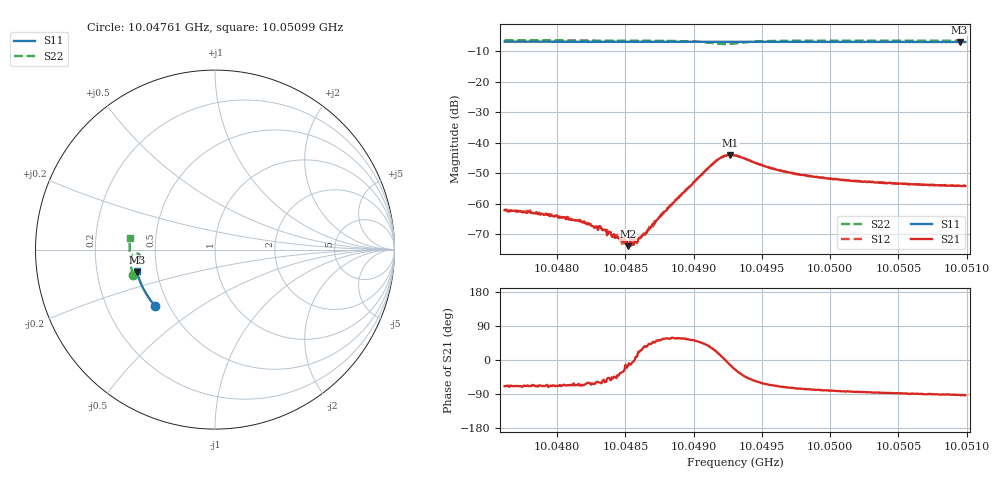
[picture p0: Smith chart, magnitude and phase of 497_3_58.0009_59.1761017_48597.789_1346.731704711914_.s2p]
#  HZ  S  RI  R  50.00
! Rohde & Schwarz Vector Network Analyzer
! Rohde-Schwarz,ZNB20-2Port,1311601062101988,3.16
! Created: UTC 3/21/2024, 1:12:38 AM
! freq[Hz]  re:S11  im:S11  re:S21  im:S21  re:S12  im:S12  re:S22  im:S22
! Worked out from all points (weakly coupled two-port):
!   401 points, 10.04761 GHz to 10.05099 GHz, reference 50 ohm
!   highest |S21| = -43.97 dB at 10.04927 GHz (marker M1); lowest = -73.9 dB at 10.04852 GHz (marker M2)
!   lowest |S11| = -6.9 dB at 10.05095 GHz (marker M3), VSWR 2.65, Z = 19.2 - j5.99 ohm
!   |S11| at or under -10 dB: nowhere
!   |S22| runs from -7.6 to -6.4 dB; largest |S21 - S12| = 0.00046
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1.0047615e10  -0.3323 -0.3152  0.000283 -0.000733  0.000347 -0.000682  -0.4567 -0.1429
1.0047792e10  -0.3401 -0.3062  0.000267 -0.000694  0.000322 -0.000665  -0.4601 -0.1312
1.004818e10  -0.3559 -0.2863  0.000193 -0.000466  0.000236 -0.000451  -0.4657 -0.1043
1.0048282e10  -0.3601 -0.2811  0.000211 -0.000364  0.000221 -0.000357  -0.4669 -0.097
1.0048324e10  -0.3616 -0.2788  0.000189 -0.000348  0.000227 -0.000318  -0.4674 -0.0939
1.0048349e10  -0.3627 -0.2774  0.000195 -0.000316  0.000232 -0.000285  -0.4676 -0.0918
1.0048425e10  -0.3655 -0.2733  0.000194 -0.000195  0.000222 -0.000209  -0.4683 -0.0862
1.0048476e10  -0.3674 -0.2705  0.000214 -0.000134  0.000197 -9.5e-05  -0.4685 -0.0822
1.0048518e10  -0.3691 -0.2684  0.000195 -5.38e-05  0.000232 -8.83e-05  -0.4687 -0.0787
1.0048552e10  -0.37 -0.2664  0.000227 -2.36e-05  0.000255 -2.12e-06  -0.4691 -0.0761
1.0048602e10  -0.3721 -0.2636  0.00026 0.000102  0.000259 9.81e-05  -0.4691 -0.0719
1.0048644e10  -0.3736 -0.2612  0.00025 0.000187  0.000224 0.0002  -0.4692 -0.0683
1.0048746e10  -0.3772 -0.2558  0.000377 0.000466  0.000353 0.000475  -0.4687 -0.0592
1.0049142e10  -0.3903 -0.2331  0.00401 0.00223  0.00388 0.00246  -0.4332 -0.0218
1.004921e10  -0.3921 -0.2293  0.00585 0.000806  0.00578 0.00113  -0.418 -0.0337
1.0049269e10  -0.3941 -0.2262  0.00616 -0.00149  0.00625 -0.00112  -0.4182 -0.0524
1.0049303e10  -0.395 -0.2243  0.00561 -0.00265  0.00582 -0.00228  -0.4248 -0.0603
1.0049573e10  -0.4035 -0.2088  0.00151 -0.00349  0.00176 -0.00342  -0.4665 -0.0454
1.0049868e10  -0.4118 -0.1913  0.00056 -0.00277  0.000762 -0.00273  -0.4742 -0.0176
1.0050434e10  -0.4252 -0.1565  0.000114 -0.00221  0.000218 -0.00216  -0.4755 0.0256
1.0050949e10  -0.4347 -0.1243  -7.2e-05 -0.00197  4.36e-05 -0.00198  -0.4721 0.0612
1.0050991e10  -0.4355 -0.1215  -0.000102 -0.00195  1.57e-05 -0.00199  -0.4717 0.0639
